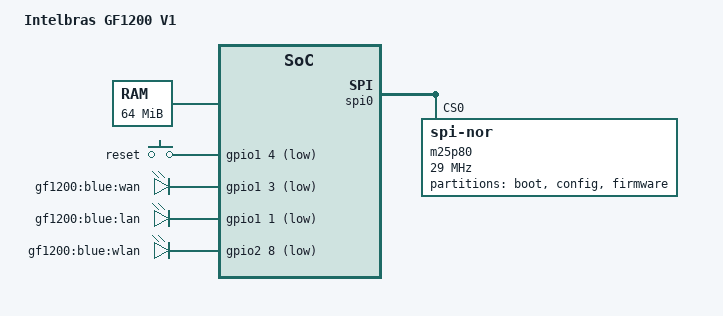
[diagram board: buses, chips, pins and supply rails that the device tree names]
// SPDX-License-Identifier: GPL-2.0
/dts-v1/;

#include "RTL8197F.dtsi"

#include <dt-bindings/gpio/gpio.h>
#include <dt-bindings/input/input.h>

/ {
	compatible = "intelbras,gf1200", "realtek,rtl8197f-soc";
	model = "Intelbras GF1200 V1";

	memory {
		device_type = "memory";
		reg = <0x0 0x4000000>;
	};

	chosen {
		bootargs = "console=ttyS0,38400";
	};

	gpio-keys-polled {
		compatible = "gpio-keys-polled";
		#address-cells = <1>;
		#size-cells = <0>;
		poll-interval = <20>;

		reset {
			label = "reset";
			gpios = <&gpio1 4 GPIO_ACTIVE_LOW>;
			linux,code = <KEY_RESTART>;
		};
	};

	gpio-leds {
		compatible = "gpio-leds";

		wan {
			label = "gf1200:blue:wan";
			gpios = <&gpio1 3 GPIO_ACTIVE_LOW>;
		};

		lan {
			label = "gf1200:blue:lan";
			gpios = <&gpio1 1 GPIO_ACTIVE_LOW>;
		};

		wlan {
			label = "gf1200:blue:wlan";
			gpios = <&gpio2 8 GPIO_ACTIVE_LOW>;
		};
	};
};

&gpio0 {
	status = "okay";
};

&gpio1 {
	status = "okay";
};

&gpio2 {
	status = "okay";
};

&spi0 {
	status = "okay";

	m25p80@0 {
		#address-cells = <1>;
		#size-cells = <1>;
		compatible = "jedec,spi-nor";
		reg = <0>;
		spi-max-frequency = <29000000>;

		partition@0 {
			label = "boot";
			reg = <0x0 0x20000>;
			read-only;
		};

		partition@20000 {
			label = "config";
			reg = <0x20000 0x10000>;
			read-only;
		};

		partition@30000 {
			label = "firmware";
			reg = <0x30000 0x7D0000>;
		};
	};
};
